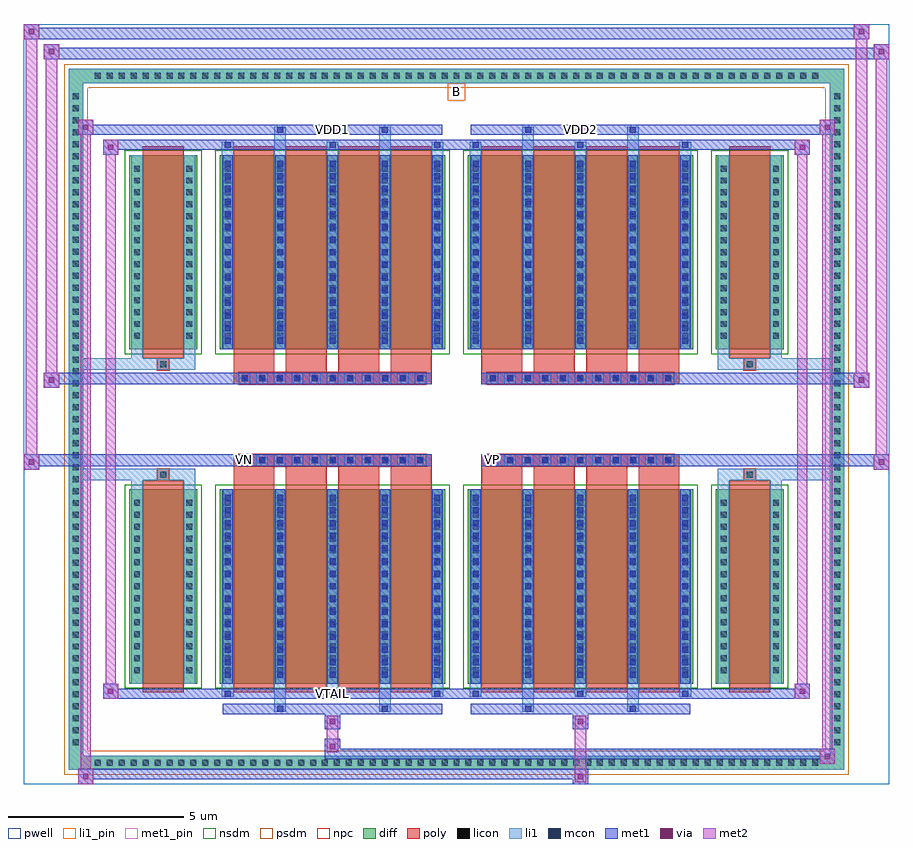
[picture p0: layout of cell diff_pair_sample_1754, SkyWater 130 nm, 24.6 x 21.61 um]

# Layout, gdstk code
import gdstk
lib = gdstk.Library(unit=1e-6, precision=5e-09)
def R(c, l, rs):  # rectangles x0, y0, x1, y1
    for r in rs: c.add(gdstk.rectangle(r[:2], r[2:], *l))
def A(c, l, x, y, w, h, nx, ny, dx, dy):  # array of equal rectangles
    R(c, l, [(x+i*dx, y+j*dy, x+i*dx+w, y+j*dy+h) for i in range(nx) for j in range(ny)])
def P(c, l, *ps):  # polygons
    for p in ps: c.add(gdstk.Polygon(p, *l))
pwell = (64, 44)
diff = (65, 20)
poly = (66, 20)
licon = (66, 44)
li1_pin = (67, 16)
li1 = (67, 20)
mcon = (67, 44)
met1_pin = (68, 16)
met1 = (68, 20)
via = (68, 44)
met2 = (69, 20)
nsdm = (93, 44)
psdm = (94, 20)
npc = (95, 20)

diff_pair_sample_1754 = lib.new_cell('diff_pair_sample_1754')
R(diff_pair_sample_1754, pwell, [(-12.3,-10.37,12.3,11.24), (-9.62,-8.56,-0.01,-0.8), (0.01,-8.56,9.62,-0.8), (-9.62,0.8,-0.01,8.56), (0.01,0.8,9.62,8.56)])
A(diff_pair_sample_1754, diff, -10.405, -9.97, 0.41, 0.41, 61, 2, 0.34, 19.53)
A(diff_pair_sample_1754, diff, -11.03, -9.385, 0.41, 0.41, 1, 55, 0, 0.34)
A(diff_pair_sample_1754, diff, 10.62, -9.385, 0.41, 0.41, 1, 55, 0, 0.34)
R(diff_pair_sample_1754, diff, [(-10.405,-9.97,10.405,-9.56), (-11.03,-9.385,-10.62,9.385), (10.62,-9.385,11.03,9.385), (-9.31,-7.515,-7.37,-1.985), (-6.73,-7.515,-0.32,-1.985), (0.32,-7.515,6.73,-1.985), (7.37,-7.515,9.31,-1.985), (-9.31,1.985,-7.37,7.515), (-6.73,1.985,-0.32,7.515), (0.32,1.985,6.73,7.515), (7.37,1.985,9.31,7.515), (-10.405,9.56,10.405,9.97)])
P(diff_pair_sample_1754, diff, [(11.03,9.97),(-11.03,9.97),(-11.03,-9.56),(-10.62,-9.56),(-10.62,9.56),(10.62,9.56),(10.62,-9.56),(-10.62,-9.56),(-11.03,-9.56),(-11.03,-9.97),(11.03,-9.97)])
A(diff_pair_sample_1754, poly, -6.34, -7.765, 1.16, 6.03, 4, 2, 1.49, 9.5)
A(diff_pair_sample_1754, poly, 0.71, -7.765, 1.16, 6.03, 4, 2, 1.49, 9.5)
A(diff_pair_sample_1754, poly, -6.34, -1.735, 1.16, 0.405, 4, 2, 1.49, 3.065)
A(diff_pair_sample_1754, poly, 0.71, -1.735, 1.16, 0.405, 4, 2, 1.49, 3.065)
A(diff_pair_sample_1754, poly, -6.19, -1.33, 0.33, 0.33, 11, 2, 0.5, 2.33)
A(diff_pair_sample_1754, poly, 0.86, -1.33, 0.33, 0.33, 11, 2, 0.5, 2.33)
R(diff_pair_sample_1754, poly, [(-8.92,-7.765,-7.76,-1.735), (7.76,-7.765,8.92,-1.735), (-8.505,-1.735,-8.175,-1.405), (-8.505,-1.735,-8.175,-1.405), (8.175,-1.735,8.505,-1.405), (8.175,-1.735,8.505,-1.405), (-6.34,-1.33,-0.71,-1), (0.71,-1.33,6.34,-1), (-6.34,1,-0.71,1.33), (0.71,1,6.34,1.33), (-8.505,1.405,-8.175,1.735), (-8.505,1.405,-8.175,1.735), (8.175,1.405,8.505,1.735), (8.175,1.405,8.505,1.735), (-8.92,1.735,-7.76,7.765), (7.76,1.735,8.92,7.765)])
A(diff_pair_sample_1754, licon, -10.285, -9.85, 0.17, 0.17, 61, 2, 0.34, 19.53)
A(diff_pair_sample_1754, licon, -10.91, -9.265, 0.17, 0.17, 1, 55, 0, 0.34)
A(diff_pair_sample_1754, licon, 10.74, -9.265, 0.17, 0.17, 1, 55, 0, 0.34)
A(diff_pair_sample_1754, licon, -9.17, -7.215, 0.17, 0.17, 1, 15, 0, 0.34)
A(diff_pair_sample_1754, licon, -7.68, -7.215, 0.17, 0.17, 1, 15, 0, 0.34)
A(diff_pair_sample_1754, licon, -6.59, -7.215, 0.17, 0.17, 5, 15, 1.49, 0.34)
A(diff_pair_sample_1754, licon, 0.46, -7.215, 0.17, 0.17, 5, 15, 1.49, 0.34)
A(diff_pair_sample_1754, licon, 7.51, -7.215, 0.17, 0.17, 1, 15, 0, 0.34)
A(diff_pair_sample_1754, licon, 9, -7.215, 0.17, 0.17, 1, 15, 0, 0.34)
A(diff_pair_sample_1754, licon, -6.11, -1.25, 0.17, 0.17, 11, 2, 0.5, 2.33)
A(diff_pair_sample_1754, licon, 0.94, -1.25, 0.17, 0.17, 11, 2, 0.5, 2.33)
A(diff_pair_sample_1754, licon, -9.17, 2.285, 0.17, 0.17, 1, 15, 0, 0.34)
A(diff_pair_sample_1754, licon, -7.68, 2.285, 0.17, 0.17, 1, 15, 0, 0.34)
A(diff_pair_sample_1754, licon, -6.59, 2.285, 0.17, 0.17, 5, 15, 1.49, 0.34)
A(diff_pair_sample_1754, licon, 0.46, 2.285, 0.17, 0.17, 5, 15, 1.49, 0.34)
A(diff_pair_sample_1754, licon, 7.51, 2.285, 0.17, 0.17, 1, 15, 0, 0.34)
A(diff_pair_sample_1754, licon, 9, 2.285, 0.17, 0.17, 1, 15, 0, 0.34)
R(diff_pair_sample_1754, licon, [(-8.425,-1.655,-8.255,-1.485), (8.255,-1.655,8.425,-1.485), (-8.425,1.485,-8.255,1.655), (8.255,1.485,8.425,1.655)])
R(diff_pair_sample_1754, li1_pin, [(-0.25,9.06,0.25,9.56)])
A(diff_pair_sample_1754, li1, -10.365, -9.93, 0.33, 0.33, 61, 2, 0.34, 19.53)
A(diff_pair_sample_1754, li1, -10.99, -9.345, 0.33, 0.33, 1, 55, 0, 0.34)
A(diff_pair_sample_1754, li1, 10.66, -9.345, 0.33, 0.33, 1, 55, 0, 0.34)
A(diff_pair_sample_1754, li1, -6.67, -7.89, 0.33, 0.375, 3, 2, 2.98, 15.405)
A(diff_pair_sample_1754, li1, -6.59, -7.89, 0.17, 0.17, 3, 2, 2.98, 15.61)
A(diff_pair_sample_1754, li1, 0.38, -7.89, 0.33, 0.375, 3, 2, 2.98, 15.405)
A(diff_pair_sample_1754, li1, 0.46, -7.89, 0.17, 0.17, 3, 2, 2.98, 15.61)
A(diff_pair_sample_1754, li1, -6.67, -7.515, 0.33, 5.53, 5, 2, 1.49, 9.5)
A(diff_pair_sample_1754, li1, 0.38, -7.515, 0.33, 5.53, 5, 2, 1.49, 9.5)
A(diff_pair_sample_1754, li1, -6.59, -7.355, 0.17, 0.17, 5, 15, 1.49, 0.36)
A(diff_pair_sample_1754, li1, -6.59, -7.355, 0.17, 5.21, 5, 2, 1.49, 9.5)
A(diff_pair_sample_1754, li1, 0.46, -7.355, 0.17, 0.17, 5, 15, 1.49, 0.36)
A(diff_pair_sample_1754, li1, 0.46, -7.355, 0.17, 5.21, 5, 2, 1.49, 9.5)
A(diff_pair_sample_1754, li1, -9.25, -7.295, 0.33, 0.33, 1, 15, 0, 0.34)
A(diff_pair_sample_1754, li1, -7.76, -7.295, 0.33, 0.33, 1, 15, 0, 0.34)
A(diff_pair_sample_1754, li1, -6.67, -7.295, 0.33, 0.33, 5, 15, 1.49, 0.34)
A(diff_pair_sample_1754, li1, 0.38, -7.295, 0.33, 0.33, 5, 15, 1.49, 0.34)
A(diff_pair_sample_1754, li1, 7.43, -7.295, 0.33, 0.33, 1, 15, 0, 0.34)
A(diff_pair_sample_1754, li1, 8.92, -7.295, 0.33, 0.33, 1, 15, 0, 0.34)
A(diff_pair_sample_1754, li1, -6.19, -1.33, 0.33, 0.33, 11, 2, 0.5, 2.33)
A(diff_pair_sample_1754, li1, 0.86, -1.33, 0.33, 0.33, 11, 2, 0.5, 2.33)
A(diff_pair_sample_1754, li1, -6.59, 2.145, 0.17, 0.17, 5, 15, 1.49, 0.36)
A(diff_pair_sample_1754, li1, 0.46, 2.145, 0.17, 0.17, 5, 15, 1.49, 0.36)
A(diff_pair_sample_1754, li1, -9.25, 2.205, 0.33, 0.33, 1, 15, 0, 0.34)
A(diff_pair_sample_1754, li1, -7.76, 2.205, 0.33, 0.33, 1, 15, 0, 0.34)
A(diff_pair_sample_1754, li1, -6.67, 2.205, 0.33, 0.33, 5, 15, 1.49, 0.34)
A(diff_pair_sample_1754, li1, 0.38, 2.205, 0.33, 0.33, 5, 15, 1.49, 0.34)
A(diff_pair_sample_1754, li1, 7.43, 2.205, 0.33, 0.33, 1, 15, 0, 0.34)
A(diff_pair_sample_1754, li1, 8.92, 2.205, 0.33, 0.33, 1, 15, 0, 0.34)
R(diff_pair_sample_1754, li1, [(-11.03,-9.97,-10.62,-9.56), (-11.03,-9.97,-10.62,-9.56), (-10.62,-9.97,10.62,-9.56), (10.62,-9.97,11.03,-9.56), (10.62,-9.97,11.03,-9.56), (-11.03,-9.56,-10.62,9.56), (10.62,-9.56,11.03,9.56), (-5.18,-8.32,-4.85,-7.515), (-5.1,-8.32,-4.93,-8.15), (-2.2,-8.32,-1.87,-7.515), (-2.12,-8.32,-1.95,-8.15), (1.87,-8.32,2.2,-7.515), (1.95,-8.32,2.12,-8.15), (4.85,-8.32,5.18,-7.515), (4.93,-8.32,5.1,-8.15), (-9.25,-7.515,-8.92,-1.985), (-7.76,-7.515,-7.43,-1.985), (7.43,-7.515,7.76,-1.985), (8.92,-7.515,9.25,-1.985), (-9.25,-1.985,-8.92,-1.405), (-7.76,-1.985,-7.43,-1.405), (7.43,-1.985,7.76,-1.405), (8.92,-1.985,9.25,-1.405), (-11.03,-1.735,-8.505,-1.405), (-9.25,-1.735,-8.505,-1.405), (-8.505,-1.735,-8.175,-1.405), (-8.175,-1.735,-7.43,-1.405), (7.43,-1.735,8.175,-1.405), (8.175,-1.735,8.505,-1.405), (8.175,-1.735,11.03,-1.405), (8.505,-1.735,9.25,-1.405), (-11.03,1.405,-8.505,1.735), (-9.25,1.405,-8.505,1.735), (-9.25,1.405,-8.92,1.985), (-8.505,1.405,-8.175,1.735), (-8.175,1.405,-7.43,1.735), (-7.76,1.405,-7.43,1.985), (7.43,1.405,8.175,1.735), (7.43,1.405,7.76,1.985), (8.175,1.405,8.505,1.735), (8.175,1.405,11.03,1.735), (8.505,1.405,9.25,1.735), (8.92,1.405,9.25,1.985), (-9.25,1.985,-8.92,7.515), (-7.76,1.985,-7.43,7.515), (7.43,1.985,7.76,7.515), (8.92,1.985,9.25,7.515), (-5.18,7.515,-4.85,8.32), (-2.2,7.515,-1.87,8.32), (1.87,7.515,2.2,8.32), (4.85,7.515,5.18,8.32), (-5.1,8.15,-4.93,8.32), (-2.12,8.15,-1.95,8.32), (1.95,8.15,2.12,8.32), (4.93,8.15,5.1,8.32), (-11.03,9.56,-10.62,9.97), (-11.03,9.56,-10.62,9.97), (-10.62,9.56,10.62,9.97), (10.62,9.56,11.03,9.97), (10.62,9.56,11.03,9.97)])
A(diff_pair_sample_1754, mcon, -6.59, -7.89, 0.17, 0.17, 3, 2, 2.98, 15.61)
A(diff_pair_sample_1754, mcon, 0.46, -7.89, 0.17, 0.17, 3, 2, 2.98, 15.61)
A(diff_pair_sample_1754, mcon, -6.59, -7.355, 0.17, 0.17, 5, 15, 1.49, 0.36)
A(diff_pair_sample_1754, mcon, 0.46, -7.355, 0.17, 0.17, 5, 15, 1.49, 0.36)
A(diff_pair_sample_1754, mcon, -6.11, -1.25, 0.17, 0.17, 11, 2, 0.5, 2.33)
A(diff_pair_sample_1754, mcon, 0.94, -1.25, 0.17, 0.17, 11, 2, 0.5, 2.33)
A(diff_pair_sample_1754, mcon, -6.59, 2.145, 0.17, 0.17, 5, 15, 1.49, 0.36)
A(diff_pair_sample_1754, mcon, 0.46, 2.145, 0.17, 0.17, 5, 15, 1.49, 0.36)
R(diff_pair_sample_1754, mcon, [(-5.1,-8.32,-4.93,-8.15), (-2.12,-8.32,-1.95,-8.15), (1.95,-8.32,2.12,-8.15), (4.93,-8.32,5.1,-8.15), (-5.1,8.15,-4.93,8.32), (-2.12,8.15,-1.95,8.32), (1.95,8.15,2.12,8.32), (4.93,8.15,5.1,8.32)])
R(diff_pair_sample_1754, met1_pin, [(-3.66,-7.93,-3.39,-7.66), (-6.16,-1.29,-5.89,-1.02), (0.89,-1.29,1.16,-1.02), (-3.66,8.11,-3.39,8.38), (3.39,8.11,3.66,8.38)])
A(diff_pair_sample_1754, met1, -6.65, -7.95, 0.29, 0.29, 3, 2, 2.98, 15.61)
A(diff_pair_sample_1754, met1, 0.4, -7.95, 0.29, 0.29, 3, 2, 2.98, 15.61)
A(diff_pair_sample_1754, met1, -6.65, -7.515, 0.29, 5.53, 5, 2, 1.49, 9.5)
A(diff_pair_sample_1754, met1, 0.4, -7.515, 0.29, 5.53, 5, 2, 1.49, 9.5)
A(diff_pair_sample_1754, met1, -6.65, -7.415, 0.29, 0.29, 5, 15, 1.49, 0.36)
A(diff_pair_sample_1754, met1, 0.4, -7.415, 0.29, 0.29, 5, 15, 1.49, 0.36)
A(diff_pair_sample_1754, met1, -6.17, -1.31, 0.29, 0.29, 11, 2, 0.5, 2.33)
A(diff_pair_sample_1754, met1, 0.88, -1.31, 0.29, 0.29, 11, 2, 0.5, 2.33)
A(diff_pair_sample_1754, met1, -6.65, 2.085, 0.29, 0.29, 5, 15, 1.49, 0.36)
A(diff_pair_sample_1754, met1, 0.4, 2.085, 0.29, 0.29, 5, 15, 1.49, 0.36)
R(diff_pair_sample_1754, met1, [(-10.76,-10.37,-10.33,-9.94), (3.31,-10.37,3.74,-9.94), (-10.76,-10.23,3.74,-9.94), (10.33,-9.8,10.76,-9.37), (-3.74,-9.66,10.76,-9.37), (-3.74,-9.52,-3.31,-9.09), (-3.74,-8.81,-3.31,-8.38), (3.31,-8.81,3.74,-8.38), (-6.65,-8.38,-0.4,-8.09), (-5.16,-8.38,-4.87,-8.09), (-2.18,-8.38,-1.89,-8.09), (0.4,-8.38,6.65,-8.09), (1.89,-8.38,2.18,-8.09), (4.87,-8.38,5.16,-8.09), (-10.05,-7.95,-9.62,-7.52), (-10.05,-7.95,-6.65,-7.66), (-6.65,-7.95,-0.4,-7.66), (-0.4,-7.95,0.4,-7.66), (0.4,-7.95,6.65,-7.66), (6.65,-7.95,10.05,-7.66), (9.62,-7.95,10.05,-7.52), (-12.3,-1.43,-11.87,-1), (11.87,-1.43,12.3,-1), (-12.3,-1.33,-0.71,-1), (-6.34,-1.33,-0.71,-1), (0.71,-1.33,6.34,-1), (0.71,-1.33,12.3,-1), (-11.73,0.9,-11.3,1.33), (11.3,0.9,11.73,1.33), (-11.73,1,-6.34,1.33), (-6.34,1,-0.71,1.33), (0.71,1,6.34,1.33), (6.34,1,11.73,1.33), (-10.05,7.52,-9.62,7.95), (9.62,7.52,10.05,7.95), (-10.05,7.66,-6.65,7.95), (-6.65,7.66,-0.4,7.95), (-0.4,7.66,0.4,7.95), (0.4,7.66,6.65,7.95), (6.65,7.66,10.05,7.95), (-10.76,8.09,-10.33,8.52), (-10.76,8.09,-6.65,8.38), (-6.65,8.09,-0.4,8.38), (-5.16,8.09,-4.87,8.38), (-2.18,8.09,-1.89,8.38), (0.4,8.09,6.65,8.38), (1.89,8.09,2.18,8.38), (4.87,8.09,5.16,8.38), (6.65,8.09,10.76,8.38), (10.33,8.09,10.76,8.52), (-11.73,10.24,-11.3,10.67), (-11.73,10.24,-9.62,10.57), (-9.62,10.24,9.62,10.57), (9.62,10.24,12.3,10.57), (11.87,10.24,12.3,10.67), (-12.3,10.81,-11.87,11.24), (-12.3,10.81,-9.62,11.14), (-9.62,10.81,9.62,11.14), (9.62,10.81,11.73,11.14), (11.3,10.81,11.73,11.24)])
R(diff_pair_sample_1754, via, [(-10.62,-10.23,-10.47,-10.08), (3.45,-10.23,3.6,-10.08), (10.47,-9.66,10.62,-9.51), (-3.6,-9.38,-3.45,-9.23), (-3.6,-8.67,-3.45,-8.52), (3.45,-8.67,3.6,-8.52), (-9.91,-7.81,-9.76,-7.66), (9.76,-7.81,9.91,-7.66), (-12.16,-1.29,-12.01,-1.14), (12.01,-1.29,12.16,-1.14), (-11.59,1.04,-11.44,1.19), (11.44,1.04,11.59,1.19), (-9.91,7.66,-9.76,7.81), (9.76,7.66,9.91,7.81), (-10.62,8.23,-10.47,8.38), (10.47,8.23,10.62,8.38), (-11.59,10.38,-11.44,10.53), (12.01,10.38,12.16,10.53), (-12.16,10.95,-12.01,11.1), (11.44,10.95,11.59,11.1)])
R(diff_pair_sample_1754, met2, [(-10.76,-10.37,-10.33,-9.94), (-10.69,-10.37,-10.4,8.52), (-10.4,-10.37,-10.33,-9.94), (-10.71,-10.32,-10.38,-9.99), (3.36,-10.32,3.69,-9.99), (3.36,-9.99,3.69,-8.76), (10.33,-9.8,10.76,-9.37), (10.4,-9.8,10.69,8.52), (10.69,-9.8,10.76,-9.37), (10.38,-9.75,10.71,-9.42), (-3.69,-9.47,-3.36,-9.14), (-3.69,-9.14,-3.36,-8.76), (-3.69,-8.76,-3.36,-8.43), (3.36,-8.76,3.69,-8.43), (-10.05,-7.95,-9.62,-7.52), (-9.98,-7.95,-9.69,7.95), (-9.69,-7.95,-9.62,-7.52), (9.62,-7.95,10.05,-7.52), (9.69,-7.95,9.98,7.95), (9.98,-7.95,10.05,-7.52), (-10,-7.9,-9.67,-7.57), (9.67,-7.9,10,-7.57), (-12.3,-1.43,-11.87,-1), (-12.25,-1.43,-11.92,11.24), (-11.92,-1.43,-11.87,-1), (11.87,-1.43,12.3,-1), (11.92,-1.43,12.25,10.67), (12.25,-1.43,12.3,-1), (-12.25,-1.38,-11.92,-1.05), (11.92,-1.38,12.25,-1.05), (-11.73,0.9,-11.3,1.33), (-11.68,0.9,-11.35,10.67), (-11.35,0.9,-11.3,1.33), (11.3,0.9,11.73,1.33), (11.35,0.9,11.68,11.24), (11.68,0.9,11.73,1.33), (-11.68,0.95,-11.35,1.28), (11.35,0.95,11.68,1.28), (-10.05,7.52,-9.62,7.95), (-9.69,7.52,-9.62,7.95), (9.62,7.52,10.05,7.95), (9.98,7.52,10.05,7.95), (-10,7.57,-9.67,7.9), (9.67,7.57,10,7.9), (-10.76,8.09,-10.33,8.52), (-10.4,8.09,-10.33,8.52), (10.33,8.09,10.76,8.52), (10.69,8.09,10.76,8.52), (-10.71,8.14,-10.38,8.47), (10.38,8.14,10.71,8.47), (-11.73,10.24,-11.3,10.67), (-11.35,10.24,-11.3,10.67), (11.87,10.24,12.3,10.67), (12.25,10.24,12.3,10.67), (-11.68,10.29,-11.35,10.62), (11.92,10.29,12.25,10.62), (-12.3,10.81,-11.87,11.24), (-11.92,10.81,-11.87,11.24), (11.3,10.81,11.73,11.24), (11.68,10.81,11.73,11.24), (-12.25,10.86,-11.92,11.19), (11.35,10.86,11.68,11.19)])
R(diff_pair_sample_1754, nsdm, [(-9.44,-7.645,-7.24,-1.855), (-6.86,-7.645,-0.19,-1.855), (0.19,-7.645,6.86,-1.855), (7.24,-7.645,9.44,-1.855), (-9.44,1.855,-7.24,7.645), (-6.86,1.855,-0.19,7.645), (0.19,1.855,6.86,7.645), (7.24,1.855,9.44,7.645)])
P(diff_pair_sample_1754, psdm, [(11.16,10.1),(-11.16,10.1),(-11.16,-9.43),(-10.49,-9.43),(-10.49,9.43),(10.49,9.43),(10.49,-9.43),(-10.49,-9.43),(-11.16,-9.43),(-11.16,-10.1),(11.16,-10.1)])
A(diff_pair_sample_1754, npc, -6.21, -1.35, 0.37, 0.37, 11, 2, 0.5, 2.33)
A(diff_pair_sample_1754, npc, 0.84, -1.35, 0.37, 0.37, 11, 2, 0.5, 2.33)
R(diff_pair_sample_1754, npc, [(-8.525,-1.755,-8.155,-1.385), (8.155,-1.755,8.525,-1.385), (-6.21,-1.35,-5.34,-0.98), (-6.21,-1.35,-5.34,-0.98), (-5.71,-1.35,-4.84,-0.98), (-5.71,-1.35,-4.84,-0.98), (-5.21,-1.35,-4.34,-0.98), (-5.21,-1.35,-4.34,-0.98), (-4.71,-1.35,-3.84,-0.98), (-4.71,-1.35,-3.84,-0.98), (-4.21,-1.35,-3.34,-0.98), (-4.21,-1.35,-3.34,-0.98), (-3.71,-1.35,-2.84,-0.98), (-3.71,-1.35,-2.84,-0.98), (-3.21,-1.35,-2.34,-0.98), (-3.21,-1.35,-2.34,-0.98), (-2.71,-1.35,-1.84,-0.98), (-2.71,-1.35,-1.84,-0.98), (-2.21,-1.35,-1.34,-0.98), (-2.21,-1.35,-1.34,-0.98), (-1.71,-1.35,-0.84,-0.98), (-1.71,-1.35,-0.84,-0.98), (0.84,-1.35,1.71,-0.98), (0.84,-1.35,1.71,-0.98), (1.34,-1.35,2.21,-0.98), (1.34,-1.35,2.21,-0.98), (1.84,-1.35,2.71,-0.98), (1.84,-1.35,2.71,-0.98), (2.34,-1.35,3.21,-0.98), (2.34,-1.35,3.21,-0.98), (2.84,-1.35,3.71,-0.98), (2.84,-1.35,3.71,-0.98), (3.34,-1.35,4.21,-0.98), (3.34,-1.35,4.21,-0.98), (3.84,-1.35,4.71,-0.98), (3.84,-1.35,4.71,-0.98), (4.34,-1.35,5.21,-0.98), (4.34,-1.35,5.21,-0.98), (4.84,-1.35,5.71,-0.98), (4.84,-1.35,5.71,-0.98), (5.34,-1.35,6.21,-0.98), (5.34,-1.35,6.21,-0.98), (-6.21,0.98,-5.34,1.35), (-6.21,0.98,-5.34,1.35), (-5.71,0.98,-4.84,1.35), (-5.71,0.98,-4.84,1.35), (-5.21,0.98,-4.34,1.35), (-5.21,0.98,-4.34,1.35), (-4.71,0.98,-3.84,1.35), (-4.71,0.98,-3.84,1.35), (-4.21,0.98,-3.34,1.35), (-4.21,0.98,-3.34,1.35), (-3.71,0.98,-2.84,1.35), (-3.71,0.98,-2.84,1.35), (-3.21,0.98,-2.34,1.35), (-3.21,0.98,-2.34,1.35), (-2.71,0.98,-1.84,1.35), (-2.71,0.98,-1.84,1.35), (-2.21,0.98,-1.34,1.35), (-2.21,0.98,-1.34,1.35), (-1.71,0.98,-0.84,1.35), (-1.71,0.98,-0.84,1.35), (0.84,0.98,1.71,1.35), (0.84,0.98,1.71,1.35), (1.34,0.98,2.21,1.35), (1.34,0.98,2.21,1.35), (1.84,0.98,2.71,1.35), (1.84,0.98,2.71,1.35), (2.34,0.98,3.21,1.35), (2.34,0.98,3.21,1.35), (2.84,0.98,3.71,1.35), (2.84,0.98,3.71,1.35), (3.34,0.98,4.21,1.35), (3.34,0.98,4.21,1.35), (3.84,0.98,4.71,1.35), (3.84,0.98,4.71,1.35), (4.34,0.98,5.21,1.35), (4.34,0.98,5.21,1.35), (4.84,0.98,5.71,1.35), (4.84,0.98,5.71,1.35), (5.34,0.98,6.21,1.35), (5.34,0.98,6.21,1.35), (-8.525,1.385,-8.155,1.755), (8.155,1.385,8.525,1.755)])
diff_pair_sample_1754.add(gdstk.Label('VTAIL', (-3.525,-7.795), layer=68, texttype=5))
diff_pair_sample_1754.add(gdstk.Label('VN', (-6.025,-1.155), layer=68, texttype=5))
diff_pair_sample_1754.add(gdstk.Label('VP', (1.025,-1.155), layer=68, texttype=5))
diff_pair_sample_1754.add(gdstk.Label('B', (0,9.31), layer=67, texttype=5))
diff_pair_sample_1754.add(gdstk.Label('VDD2', (3.525,8.245), layer=68, texttype=5))
diff_pair_sample_1754.add(gdstk.Label('VDD1', (-3.525,8.245), layer=68, texttype=5))

lib.write_gds('diff_pair_sample_1754.gds')
